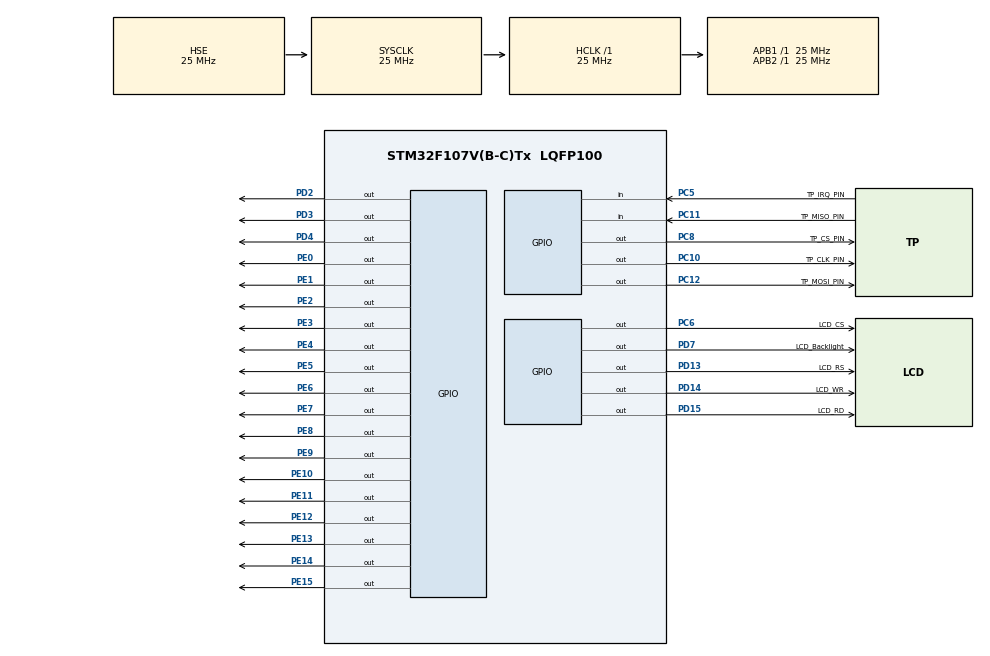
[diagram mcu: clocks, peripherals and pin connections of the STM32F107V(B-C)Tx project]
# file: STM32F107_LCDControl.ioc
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Mcu.Family=STM32F1
Mcu.Name=STM32F107V(B-C)Tx
Mcu.Package=LQFP100
NVIC.PriorityGroup=NVIC_PRIORITYGROUP_4
OSC_IN.Mode=HSE-External-Oscillator
OSC_IN.Signal=RCC_OSC_IN
OSC_OUT.Mode=HSE-External-Oscillator
OSC_OUT.Signal=RCC_OSC_OUT
PC10.GPIO_Label=TP_CLK_PIN
PC10.Signal=GPIO_Output
PC11.GPIO_Label=TP_MISO_PIN
PC11.Signal=GPIO_Input
PC12.GPIO_Label=TP_MOSI_PIN
PC12.Signal=GPIO_Output
PC14-OSC32_IN.Mode=LSE-External-Oscillator
PC14-OSC32_IN.Signal=RCC_OSC32_IN
PC15-OSC32_OUT.Mode=LSE-External-Oscillator
PC15-OSC32_OUT.Signal=RCC_OSC32_OUT
PC5.GPIO_Label=TP_IRQ_PIN
PC5.Signal=GPIO_Input
PC6.GPIO_Label=LCD_CS
PC6.Signal=GPIO_Output
PC8.GPIO_Label=TP_CS_PIN
PC8.Signal=GPIO_Output
PD13.GPIO_Label=LCD_RS
PD13.Signal=GPIO_Output
PD14.GPIO_Label=LCD_WR
PD14.Signal=GPIO_Output
PD15.GPIO_Label=LCD_RD
PD15.Signal=GPIO_Output
PD2.Signal=GPIO_Output
PD3.Signal=GPIO_Output
PD4.Signal=GPIO_Output
PD7.GPIO_Label=LCD_Backlight
PD7.Signal=GPIO_Output
PE0.Signal=GPIO_Output
PE1.Signal=GPIO_Output
PE10.Signal=GPIO_Output
PE11.Signal=GPIO_Output
PE12.Signal=GPIO_Output
PE13.Signal=GPIO_Output
PE14.Signal=GPIO_Output
PE15.Signal=GPIO_Output
PE2.Signal=GPIO_Output
PE3.Signal=GPIO_Output
PE4.Signal=GPIO_Output
PE5.Signal=GPIO_Output
PE6.Signal=GPIO_Output
PE7.Signal=GPIO_Output
PE8.Signal=GPIO_Output
PE9.Signal=GPIO_Output
ProjectManager.HeapSize=0x200
ProjectManager.StackSize=0x400
ProjectManager.TargetToolchain=SW4STM32
RCC.AHBFreq_Value=25000000
RCC.APB1Freq_Value=25000000
RCC.APB1TimFreq_Value=25000000
RCC.APB2Freq_Value=25000000
RCC.APB2TimFreq_Value=25000000
RCC.HCLKFreq_Value=25000000
RCC.HSEDivPLL=RCC_HSE_PREDIV_DIV4
RCC.HSE_VALUE=25000000
RCC.PLLSourceVirtual=RCC_PLLSOURCE_HSE
RCC.RTCClockSelection=RCC_RTCCLKSOURCE_LSE
RCC.SYSCLKFreq_VALUE=25000000
RCC.SYSCLKSource=RCC_SYSCLKSOURCE_HSE
RCC.USBFreq_Value=16666666.666666666
RTC.Format=RTC_FORMAT_BIN
RTC.Hours=1
RTC.Minutes=1
RTC.OutPut=RTC_OUTPUTSOURCE_CALIBCLOCK
RTC.Seconds=1
VP_RTC_VS_RTC_Activate.Mode=RTC_Enabled
VP_RTC_VS_RTC_Calendar.Mode=RTC_Calendar
VP_SYS_VS_ND.Mode=No_Debug
VP_TIM1_VS_ClockSourceINT.Mode=Internal
board=custom

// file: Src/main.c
/**
  ******************************************************************************
  * @file           : main.c
  * @brief          : Main program body
  ******************************************************************************
  ** This notice applies to any and all portions of this file
  * that are not between comment pairs USER CODE BEGIN and
  * USER CODE END. Other portions of this file, whether
  * inserted by the user or by software development tools
  * are owned by their respective copyright owners.
  *
  * COPYRIGHT(c) 2018 STMicroelectronics
  *
  * Redistribution and use in source and binary forms, with or without modification,
  * are permitted provided that the following conditions are met:
  *   1. Redistributions of source code must retain the above copyright notice,
  *      this list of conditions and the following disclaimer.
  *   2. Redistributions in binary form must reproduce the above copyright notice,
  *      this list of conditions and the following disclaimer in the documentation
  *      and/or other materials provided with the distribution.
  *   3. Neither the name of STMicroelectronics nor the names of its contributors
  *      may be used to endorse or promote products derived from this software
  *      without specific prior written permission.
  *
  * THIS SOFTWARE IS PROVIDED BY THE COPYRIGHT HOLDERS AND CONTRIBUTORS "AS IS"
  * AND ANY EXPRESS OR IMPLIED WARRANTIES, INCLUDING, BUT NOT LIMITED TO, THE
  * IMPLIED WARRANTIES OF MERCHANTABILITY AND FITNESS FOR A PARTICULAR PURPOSE ARE
  * DISCLAIMED. IN NO EVENT SHALL THE COPYRIGHT HOLDER OR CONTRIBUTORS BE LIABLE
  * FOR ANY DIRECT, INDIRECT, INCIDENTAL, SPECIAL, EXEMPLARY, OR CONSEQUENTIAL
  * DAMAGES (INCLUDING, BUT NOT LIMITED TO, PROCUREMENT OF SUBSTITUTE GOODS OR
  * SERVICES; LOSS OF USE, DATA, OR PROFITS; OR BUSINESS INTERRUPTION) HOWEVER
  * CAUSED AND ON ANY THEORY OF LIABILITY, WHETHER IN CONTRACT, STRICT LIABILITY,
  * OR TORT (INCLUDING NEGLIGENCE OR OTHERWISE) ARISING IN ANY WAY OUT OF THE USE
  * OF THIS SOFTWARE, EVEN IF ADVISED OF THE POSSIBILITY OF SUCH DAMAGE.
  *
  ******************************************************************************
  */
#include "main.h"
#include "stm32f1xx_hal.h"

/* USER CODE BEGIN Includes */

#include "GlobalStateMachine.h" /*Global State machine header*/
//#include "snow_tiger.h"
/* USER CODE END Includes */

RTC_HandleTypeDef hrtc;

TIM_HandleTypeDef htim1;

/* USER CODE BEGIN PV */
/* Private variables ---------------------------------------------------------*/
//RTC_TimeTypeDef sTime;
//RTC_DateTypeDef sDate;
/* USER CODE END PV */

void SystemClock_Config(void);
static void MX_GPIO_Init(void);
static void MX_TIM1_Init(void);
static void MX_RTC_Init(void);

/* USER CODE BEGIN PFP */
/* Private function prototypes -----------------------------------------------*/

/* USER CODE END PFP */

/* USER CODE BEGIN 0 */
uint32_t rtc_read_backup_reg(uint32_t BackupRegister) {
    RTC_HandleTypeDef RtcHandle;
    RtcHandle.Instance = RTC;
    return HAL_RTCEx_BKUPRead(&RtcHandle, BackupRegister);
}

void rtc_write_backup_reg(uint32_t BackupRegister, uint32_t data) {
    RTC_HandleTypeDef RtcHandle;
    RtcHandle.Instance = RTC;
    HAL_PWR_EnableBkUpAccess();
    HAL_RTCEx_BKUPWrite(&RtcHandle, BackupRegister, data);
    HAL_PWR_DisableBkUpAccess();
}
/* USER CODE END 0 */

int main(void)
{

  /* MCU Configuration----------------------------------------------------------*/

  /* Reset of all peripherals, Initializes the Flash interface and the Systick. */
  HAL_Init();

  /* Configure the system clock */
  SystemClock_Config();

  /* Initialize all configured peripherals */
  MX_GPIO_Init();
  MX_TIM1_Init();
  MX_RTC_Init();

  /* Infinite loop */
  /* USER CODE BEGIN WHILE */
  while (1)
  {
	  /*Call GSM runone*/
	  GSM_RunOne();
	  //----------------------------------------------------------PERFORMANCE TEST
//	  	  ILI9341_Clear(RED);
//	  	  HAL_Delay(3000);

//	  	  ILI9341_Clear(RED);
//	  	  HAL_Delay(1000);
//	  	  ILI9341_Clear(YELLOW);
//	  	  HAL_Delay(1000);
//	  	  ILI9341_Clear(GREEN);
//	  	  HAL_Delay(1000);
//	  	  ILI9341_Clear(MAGENTA);
//	  	  HAL_Delay(1000);
//
//	  		ILI9341_Set_Rotation(SCREEN_VERTICAL_2);
//	  	  	char counter_buff[30];
//	  	  	HAL_RTC_GetDate(&hrtc, &sDate, RTC_FORMAT_BIN);
//	  	  	HAL_RTC_GetTime(&hrtc, &sTime, RTC_FORMAT_BIN);
//	  	  	sprintf(counter_buff, "%02d:%02d", sTime.Hours, sTime.Minutes);
//	  	  	ILI9341_Draw_Text(counter_buff, 10, 10, BLACK, 4, WHITE);
//	  	  sprintf(counter_buff, "%02d", sTime.Seconds);
//	  	ILI9341_Draw_Text(counter_buff, 130, 25, BLACK, 2, WHITE);
//	  		uint32_t Timer_Counter = 0;
//	  		for(uint32_t j = 0; j < 2; j++)
//	  		{
//	  			HAL_TIM_Base_Start(&htim1);
//	  			for(uint16_t i = 0; i < 10; i++)
//	  			{
//	  				ILI9341_Fill_Screen(WHITE);
//	  				ILI9341_Fill_Screen(BLACK);
//	  			}
//
//	  			//20.000 per second!
//	  			HAL_TIM_Base_Stop(&htim1);
//	  			Timer_Counter += __HAL_TIM_GET_COUNTER(&htim1);
//	  			__HAL_TIM_SET_COUNTER(&htim1, 0);
//	  		}
//	  		Timer_Counter /= 2;
//
//	  		char counter_buff[30];
//	  		ILI9341_Fill_Screen(WHITE);
//	  		ILI9341_Set_Rotation(SCREEN_HORIZONTAL_2);
//	  		sprintf(counter_buff, "Timer counter value: %d", Timer_Counter*2);
//	  		ILI9341_Draw_Text(counter_buff, 10, 10, BLACK, 1, WHITE);
//
//	  		double seconds_passed = 2*((float)Timer_Counter / 20000);
//	  		sprintf(counter_buff, "Time: %.3f Sec", seconds_passed);
//	  		ILI9341_Draw_Text(counter_buff, 10, 30, BLACK, 2, WHITE);
//
//	  		double timer_float = 20/(((float)Timer_Counter)/20000);	//Frames per sec
//
//	  		sprintf(counter_buff, "FPS:  %.2f", timer	_float);
//	  		ILI9341_Draw_Text(counter_buff, 10, 50, BLACK, 2, WHITE);
//	  		double MB_PS = timer_float*240*320*2/1000000;
//	  		sprintf(counter_buff, "MB/S: %.2f", MB_PS);
//	  		ILI9341_Draw_Text(counter_buff, 10, 70, BLACK, 2, WHITE);
//	  		double SPI_utilized_percentage = (MB_PS/(6.25 ))*100;		//50mbits / 8 bits
//	  		sprintf(counter_buff, "SPI Utilized: %.2f", SPI_utilized_percentage);
//	  		ILI9341_Draw_Text(counter_buff, 10, 90, BLACK, 2, WHITE);
//	  		HAL_Delay(10000);
//
//
//	  		static uint16_t x = 0;
//	  		static uint16_t y = 0;
//
//	  		char Temp_Buffer_text[40];
//
//	  //----------------------------------------------------------COUNTING MULTIPLE SEGMENTS
//	  		ILI9341_Fill_Screen(WHITE);
//	  		ILI9341_Set_Rotation(SCREEN_HORIZONTAL_2);
//	  		ILI9341_Draw_Text("Counting multiple segments at once", 10, 10, BLACK, 1, WHITE);
//	  		HAL_Delay(2000);
//	  		ILI9341_Fill_Screen(WHITE);
//
//
//	  		for(uint16_t i = 0; i <= 10; i++)
//	  		{
//	  		sprintf(Temp_Buffer_text, "Counting: %d", i);
//	  		ILI9341_Draw_Text(Temp_Buffer_text, 10, 10, BLACK, 2, WHITE);
//	  		ILI9341_Draw_Text(Temp_Buffer_text, 10, 30, BLUE, 2, WHITE);
//	  		ILI9341_Draw_Text(Temp_Buffer_text, 10, 50, RED, 2, WHITE);
//	  		ILI9341_Draw_Text(Temp_Buffer_text, 10, 70, GREEN, 2, WHITE);
//	  		ILI9341_Draw_Text(Temp_Buffer_text, 10, 90, BLACK, 2, WHITE);
//	  		ILI9341_Draw_Text(Temp_Buffer_text, 10, 110, BLUE, 2, WHITE);
//	  		ILI9341_Draw_Text(Temp_Buffer_text, 10, 130, RED, 2, WHITE);
//	  		ILI9341_Draw_Text(Temp_Buffer_text, 10, 150, GREEN, 2, WHITE);
//	  		ILI9341_Draw_Text(Temp_Buffer_text, 10, 170, WHITE, 2, BLACK);
//	  		ILI9341_Draw_Text(Temp_Buffer_text, 10, 190, BLUE, 2, BLACK);
//	  		ILI9341_Draw_Text(Temp_Buffer_text, 10, 210, RED, 2, BLACK);
//	  		}
//
//	  		HAL_Delay(1000);
//
//	  //----------------------------------------------------------COUNTING SINGLE SEGMENT
//	  		ILI9341_Fill_Screen(WHITE);
//	  		ILI9341_Set_Rotation(SCREEN_HORIZONTAL_2);
//	  		ILI9341_Draw_Text("Counting single segment", 10, 10, BLACK, 1, WHITE);
//	  		HAL_Delay(2000);
//	  		ILI9341_Fill_Screen(WHITE);
//
//	  		for(uint16_t i = 0; i <= 100; i++)
//	  		{
//	  		sprintf(Temp_Buffer_text, "Counting: %d", i);
//	  		ILI9341_Draw_Text(Temp_Buffer_text, 10, 10, BLACK, 3, WHITE);
//	  		}
//
//	  		HAL_Delay(1000);
//
//	  //----------------------------------------------------------ALIGNMENT TEST
//	  		ILI9341_Fill_Screen(WHITE);
//	  		ILI9341_Set_Rotation(SCREEN_HORIZONTAL_2);
//	  		ILI9341_Draw_Text("Rectangle alignment check", 10, 10, BLACK, 1, WHITE);
//	  		HAL_Delay(2000);
//	  		ILI9341_Fill_Screen(WHITE);
//
//	  		ILI9341_Draw_Hollow_Rectangle_Coord(50, 50, 100, 100, BLACK);
//	  		ILI9341_Draw_Filled_Rectangle_Coord(20, 20, 50, 50, BLACK);
//	  		ILI9341_Draw_Hollow_Rectangle_Coord(10, 10, 19, 19, BLACK);
//	  		HAL_Delay(1000);
//
//	  //----------------------------------------------------------LINES EXAMPLE
//	  		ILI9341_Fill_Screen(WHITE);
//	  		ILI9341_Set_Rotation(SCREEN_HORIZONTAL_2);
//	  		ILI9341_Draw_Text("Randomly placed and sized", 10, 10, BLACK, 1, WHITE);
//	  		ILI9341_Draw_Text("Horizontal and Vertical lines", 10, 20, BLACK, 1, WHITE);
//	  		HAL_Delay(2000);
//	  		ILI9341_Fill_Screen(WHITE);
//
//	  		for(uint32_t i = 0; i < 30000; i++)
//	  		{
//	  			uint32_t random_num = 0;
//	  			uint16_t xr = 0;
//	  			uint16_t yr = 0;
//	  			uint16_t radiusr = 0;
//	  			uint16_t colourr = 0;
////	  			random_num = HAL_RNG_GetRandomNumber(&hrng);
//	  			xr = random_num;
////	  			random_num = HAL_RNG_GetRandomNumber(&hrng);
//	  			yr = random_num;
////	  			random_num = HAL_RNG_GetRandomNumber(&hrng);
//	  			radiusr = random_num;
////	  			random_num = HAL_RNG_GetRandomNumber(&hrng);
//	  			colourr = random_num;
//
//	  			xr &= 0x01FF;
//	  			yr &= 0x01FF;
//	  			radiusr &= 0x001F;
//	  			//ili9341_drawpixel(xr, yr, WHITE);
//	  			ILI9341_Draw_Horizontal_Line(xr, yr, radiusr, colourr);
//	  			ILI9341_Draw_Vertical_Line(xr, yr, radiusr, colourr);
//	  		}
//
//	  		HAL_Delay(1000);
//
//	  //----------------------------------------------------------HOLLOW CIRCLES EXAMPLE
//	  		ILI9341_Fill_Screen(WHITE);
//	  		ILI9341_Set_Rotation(SCREEN_HORIZONTAL_2);
//	  		ILI9341_Draw_Text("Randomly placed and sized", 10, 10, BLACK, 1, WHITE);
//	  		ILI9341_Draw_Text("Circles", 10, 20, BLACK, 1, WHITE);
//	  		HAL_Delay(2000);
//	  		ILI9341_Fill_Screen(WHITE);
//
//
//	  		for(uint32_t i = 0; i < 3000; i++)
//	  		{
//	  			uint32_t random_num = 0;
//	  			uint16_t xr = 0;
//	  			uint16_t yr = 0;
//	  			uint16_t radiusr = 0;
//	  			uint16_t colourr = 0;
////	  			random_num = HAL_RNG_GetRandomNumber(&hrng);
//	  			xr = random_num;
////	  			random_num = HAL_RNG_GetRandomNumber(&hrng);
//	  			yr = random_num;
////	  			random_num = HAL_RNG_GetRandomNumber(&hrng);
//	  			radiusr = random_num;
////	  			random_num = HAL_RNG_GetRandomNumber(&hrng);
//	  			colourr = random_num;
//
//	  			xr &= 0x01FF;
//	  			yr &= 0x01FF;
//	  			radiusr &= 0x001F;
//	  			//ili9341_drawpixel(xr, yr, WHITE);
//	  			ILI9341_Draw_Hollow_Circle(xr, yr, radiusr*2, colourr);
//	  		}
//	  		HAL_Delay(1000);
//
//	  //----------------------------------------------------------FILLED CIRCLES EXAMPLE
//	  		ILI9341_Fill_Screen(WHITE);
//	  		ILI9341_Set_Rotation(SCREEN_HORIZONTAL_2);
//	  		ILI9341_Draw_Text("Randomly placed and sized", 10, 10, BLACK, 1, WHITE);
//	  		ILI9341_Draw_Text("Filled Circles", 10, 20, BLACK, 1, WHITE);
//	  		HAL_Delay(2000);
//	  		ILI9341_Fill_Screen(WHITE);
//
//	  		for(uint32_t i = 0; i < 1000; i++)
//	  		{
//	  			uint32_t random_num = 0;
//	  			uint16_t xr = 0;
//	  			uint16_t yr = 0;
//	  			uint16_t radiusr = 0;
//	  			uint16_t colourr = 0;
////	  			random_num = HAL_RNG_GetRandomNumber(&hrng);
//	  			xr = random_num;
////	  			random_num = HAL_RNG_GetRandomNumber(&hrng);
//	  			yr = random_num;
////	  			random_num = HAL_RNG_GetRandomNumber(&hrng);
//	  			radiusr = random_num;
////	  			random_num = HAL_RNG_GetRandomNumber(&hrng);
//	  			colourr = random_num;
//
//	  			xr &= 0x01FF;
//	  			yr &= 0x01FF;
//	  			radiusr &= 0x001F;
//	  			//ili9341_drawpixel(xr, yr, WHITE);
//	  			ILI9341_Draw_Filled_Circle(xr, yr, radiusr/2, colourr);
//	  		}
//	  		HAL_Delay(1000);
//
//	  //----------------------------------------------------------HOLLOW RECTANGLES EXAMPLE
//	  		ILI9341_Fill_Screen(WHITE);
//	  		ILI9341_Set_Rotation(SCREEN_HORIZONTAL_2);
//	  		ILI9341_Draw_Text("Randomly placed and sized", 10, 10, BLACK, 1, WHITE);
//	  		ILI9341_Draw_Text("Rectangles", 10, 20, BLACK, 1, WHITE);
//	  		HAL_Delay(2000);
//	  		ILI9341_Fill_Screen(WHITE);
//
//	  		for(uint32_t i = 0; i < 20000; i++)
//	  		{
//	  			uint32_t random_num = 0;
//	  			uint16_t xr = 0;
//	  			uint16_t yr = 0;
//	  			uint16_t radiusr = 0;
//	  			uint16_t colourr = 0;
////	  			random_num = HAL_RNG_GetRandomNumber(&hrng);
//	  			xr = random_num;
////	  			random_num = HAL_RNG_GetRandomNumber(&hrng);
//	  			yr = random_num;
////	  			random_num = HAL_RNG_GetRandomNumber(&hrng);
//	  			radiusr = random_num;
////	  			random_num = HAL_RNG_GetRandomNumber(&hrng);
//	  			colourr = random_num;
//
//	  			xr &= 0x01FF;
//	  			yr &= 0x01FF;
//	  			radiusr &= 0x001F;
//	  			//ili9341_drawpixel(xr, yr, WHITE);
//	  			ILI9341_Draw_Hollow_Rectangle_Coord(xr, yr, xr+radiusr, yr+radiusr, colourr);
//	  		}
//	  		HAL_Delay(1000);
//
//	  //----------------------------------------------------------FILLED RECTANGLES EXAMPLE
//	  		ILI9341_Fill_Screen(WHITE);
//	  		ILI9341_Set_Rotation(SCREEN_HORIZONTAL_2);
//	  		ILI9341_Draw_Text("Randomly placed and sized", 10, 10, BLACK, 1, WHITE);
//	  		ILI9341_Draw_Text("Filled Rectangles", 10, 20, BLACK, 1, WHITE);
//	  		HAL_Delay(2000);
//	  		ILI9341_Fill_Screen(WHITE);
//
//	  		for(uint32_t i = 0; i < 20000; i++)
//	  		{
//	  			uint32_t random_num = 0;
//	  			uint16_t xr = 0;
//	  			uint16_t yr = 0;
//	  			uint16_t radiusr = 0;
//	  			uint16_t colourr = 0;
////	  			random_num = HAL_RNG_GetRandomNumber(&hrng);
//	  			xr = random_num;
////	  			random_num = HAL_RNG_GetRandomNumber(&hrng);
//	  			yr = random_num;
////	  			random_num = HAL_RNG_GetRandomNumber(&hrng);
//	  			radiusr = random_num;
////	  			random_num = HAL_RNG_GetRandomNumber(&hrng);
//	  			colourr = random_num;
//
//	  			xr &= 0x01FF;
//	  			yr &= 0x01FF;
//	  			radiusr &= 0x001F;
//	  			//ili9341_drawpixel(xr, yr, WHITE);
//	  			ILI9341_Draw_Rectangle(xr, yr, radiusr, radiusr, colourr);
//	  		}
//	  		HAL_Delay(1000);
//
//	  //----------------------------------------------------------INDIVIDUAL PIXEL EXAMPLE
//
//	  		ILI9341_Fill_Screen(WHITE);
//	  		ILI9341_Set_Rotation(SCREEN_HORIZONTAL_2);
//	  		ILI9341_Draw_Text("Slow draw by selecting", 10, 10, BLACK, 1, WHITE);
//	  		ILI9341_Draw_Text("and adressing pixels", 10, 20, BLACK, 1, WHITE);
//	  		HAL_Delay(2000);
//	  		ILI9341_Fill_Screen(WHITE);
//
//
//	  		x = 0;
//	  		y = 0;
//	  		while (y < 240)
//	  		{
//	  		while ((x < 320) && (y < 240))
//	  		{
//
//	  			if(x % 2)
//	  			{
//	  				ILI9341_Draw_Pixel(x, y, BLACK);
//	  			}
//
//	  			x++;
//	  		}
//
//	  			y++;
//	  			x = 0;
//	  		}
//
//	  		x = 0;
//	  		y = 0;
//
//
//	  		while (y < 240)
//	  		{
//	  		while ((x < 320) && (y < 240))
//	  		{
//
//	  			if(y % 2)
//	  			{
//	  				ILI9341_Draw_Pixel(x, y, BLACK);
//	  			}
//
//	  			x++;
//	  		}
//
//	  			y++;
//	  			x = 0;
//	  		}
//	  		HAL_Delay(2000);
//
//	  //----------------------------------------------------------INDIVIDUAL PIXEL EXAMPLE
//	  		ILI9341_Fill_Screen(WHITE);
//	  		ILI9341_Set_Rotation(SCREEN_HORIZONTAL_2);
//	  		ILI9341_Draw_Text("Random position and colour", 10, 10, BLACK, 1, WHITE);
//	  		ILI9341_Draw_Text("500000 pixels", 10, 20, BLACK, 1, WHITE);
//	  		HAL_Delay(2000);
//	  		ILI9341_Fill_Screen(WHITE);
//
//
//	  		for(uint32_t i = 0; i < 500000; i++)
//	  		{
//	  			uint32_t random_num = 0;
//	  			uint16_t xr = 0;
//	  			uint16_t yr = 0;
////	  			random_num = HAL_RNG_GetRandomNumber(&hrng);
//	  			xr = random_num;
////	  			random_num = HAL_RNG_GetRandomNumber(&hrng);
//	  			yr = random_num;
//	  			uint16_t color = random_num;//HAL_RNG_GetRandomNumber(&hrng);
//
//	  			xr &= 0x01FF;
//	  			yr &= 0x01FF;
//	  			ILI9341_Draw_Pixel(xr, yr, color);
//	  		}
//	  		HAL_Delay(2000);
//
//	  //----------------------------------------------------------565 COLOUR EXAMPLE, Grayscale
//	  		ILI9341_Fill_Screen(WHITE);
//	  		ILI9341_Set_Rotation(SCREEN_HORIZONTAL_2);
//	  		ILI9341_Draw_Text("Colour gradient", 10, 10, BLACK, 1, WHITE);
//	  		ILI9341_Draw_Text("Grayscale", 10, 20, BLACK, 1, WHITE);
//	  		HAL_Delay(2000);
//
//
//	  		for(uint16_t i = 0; i <= (320); i++)
//	  		{
//	  			uint16_t Red = 0;
//	  			uint16_t Green = 0;
//	  			uint16_t Blue = 0;
//
//	  			Red = i/(10);
//	  			Red <<= 11;
//	  			Green = i/(5);
//	  			Green <<= 5;
//	  			Blue = i/(10);
//
//
//
//	  			uint16_t RGB_color = Red + Green + Blue;
//	  			ILI9341_Draw_Rectangle(i, x, 1, 240, RGB_color);
//
//	  		}
//	  		HAL_Delay(2000);
//
//	  //----------------------------------------------------------IMAGE EXAMPLE, Snow Tiger
//	  		ILI9341_Fill_Screen(WHITE);
//	  		ILI9341_Set_Rotation(SCREEN_HORIZONTAL_2);
//	  		ILI9341_Draw_Text("RGB Picture", 10, 10, BLACK, 2, WHITE);
//	  		ILI9341_Draw_Text("TIGER", 10, 20, BLACK, 2, WHITE);
//	  		HAL_Delay(1000);
//	  		ILI9341_Draw_Rectangle(100, 100,100,100, GREEN);

//	  		ILI9341_Set_Rotation(SCREEN_VERTICAL_1);
//	  		HAL_Delay(10000);
//
//
//	  //----------------------------------------------------------TOUCHSCREEN EXAMPLE
//	  		ILI9341_Fill_Screen(WHITE);
////	  		ILI9341_Set_Rotation(SCREEN_HORIZONTAL_2);
//	  		ILI9341_Draw_Text("Touchscreen", 10, 10, BLACK, 2, WHITE);
//	  		ILI9341_Draw_Text("Touch to draw", 10, 30, BLACK, 2, WHITE);
////	  		ILI9341_Set_Rotation(SCREEN_VERTICAL_1);
//
//	  		while(1)
//	  		{
//
//	  			if(TP_Touchpad_Pressed())
//	          {
//
//	  					uint16_t x_pos = 0;
//	  					uint16_t y_pos = 0;
//
//
//	  					HAL_GPIO_WritePin(GPIOD, GPIO_PIN_2 | GPIO_PIN_3 | GPIO_PIN_4, GPIO_PIN_SET);
//
//	  					uint16_t position_array[2];
//
//	  					if(TP_Read_Coordinates(position_array) == TOUCHPAD_DATA_OK)
//	  					{
//	  					x_pos = position_array[0];
//	  					y_pos = position_array[1];
//	  					ILI9341_Draw_Filled_Circle(x_pos, y_pos, 2, BLACK);
////
////	  					ILI9341_Set_Rotation(SCREEN_HORIZONTAL_2);
//	  					char counter_buff[30];
//	  					sprintf(counter_buff, "POS X: %.3d", x_pos);
//	  					ILI9341_Draw_Text(counter_buff, 10, 80, BLACK, 2, WHITE);
//	  					sprintf(counter_buff, "POS Y: %.3d", y_pos);
//	  					ILI9341_Draw_Text(counter_buff, 10, 120, BLACK, 2, WHITE);
////	  					ILI9341_Set_Rotation(SCREEN_VERTICAL_1);
//
//	  					}
//	  					else
//	  					{
//	  						ILI9341_Draw_Text("Error", 10, 60, RED, 2, WHITE);
//	  					}
//
//	  					//ILI9341_Draw_Pixel(x_pos, y_pos, BLACK);
//
//	          }
//				else
//				{
//					HAL_GPIO_WritePin(GPIOD, GPIO_PIN_2 | GPIO_PIN_3 | GPIO_PIN_4, GPIO_PIN_RESET);
//				}
//
//	  		}
  /* USER CODE END WHILE */

  }

}

void SystemClock_Config(void)
{

  RCC_OscInitTypeDef RCC_OscInitStruct;
  RCC_ClkInitTypeDef RCC_ClkInitStruct;
  RCC_PeriphCLKInitTypeDef PeriphClkInit;

    /**Initializes the CPU, AHB and APB busses clocks
    */
  RCC_OscInitStruct.OscillatorType = RCC_OSCILLATORTYPE_HSE|RCC_OSCILLATORTYPE_LSE;
  RCC_OscInitStruct.HSEState = RCC_HSE_ON;
  RCC_OscInitStruct.LSEState = RCC_LSE_ON;
  RCC_OscInitStruct.PLL.PLLState = RCC_PLL_NONE;
  RCC_OscInitStruct.PLL2.PLL2State = RCC_PLL_NONE;
  if (HAL_RCC_OscConfig(&RCC_OscInitStruct) != HAL_OK)
  {
    _Error_Handler(__FILE__, __LINE__);
  }

    /**Initializes the CPU, AHB and APB busses clocks
    */
  RCC_ClkInitStruct.ClockType = RCC_CLOCKTYPE_HCLK|RCC_CLOCKTYPE_SYSCLK
                              |RCC_CLOCKTYPE_PCLK1|RCC_CLOCKTYPE_PCLK2;
  RCC_ClkInitStruct.SYSCLKSource = RCC_SYSCLKSOURCE_HSE;
  RCC_ClkInitStruct.AHBCLKDivider = RCC_SYSCLK_DIV1;
  RCC_ClkInitStruct.APB1CLKDivider = RCC_HCLK_DIV1;
  RCC_ClkInitStruct.APB2CLKDivider = RCC_HCLK_DIV1;

  if (HAL_RCC_ClockConfig(&RCC_ClkInitStruct, FLASH_LATENCY_1) != HAL_OK)
  {
    _Error_Handler(__FILE__, __LINE__);
  }

  PeriphClkInit.PeriphClockSelection = RCC_PERIPHCLK_RTC;
  PeriphClkInit.RTCClockSelection = RCC_RTCCLKSOURCE_LSE;
  if (HAL_RCCEx_PeriphCLKConfig(&PeriphClkInit) != HAL_OK)
  {
    _Error_Handler(__FILE__, __LINE__);
  }

    /**Configure the Systick interrupt time
    */
  HAL_SYSTICK_Config(HAL_RCC_GetHCLKFreq()/1000);

    /**Configure the Systick
    */
  HAL_SYSTICK_CLKSourceConfig(SYSTICK_CLKSOURCE_HCLK);

    /**Configure the Systick interrupt time
    */
  __HAL_RCC_PLLI2S_ENABLE();

  /* SysTick_IRQn interrupt configuration */
  HAL_NVIC_SetPriority(SysTick_IRQn, 0, 0);
}

/* RTC init function */
static void MX_RTC_Init(void)
{

  RTC_TimeTypeDef sTime;
  RTC_DateTypeDef DateToUpdate;

    /**Initialize RTC Only
    */
  hrtc.Instance = RTC;
  hrtc.Init.AsynchPrediv = RTC_AUTO_1_SECOND;
  hrtc.Init.OutPut = RTC_OUTPUTSOURCE_CALIBCLOCK;
  if (HAL_RTC_Init(&hrtc) != HAL_OK)
  {
    _Error_Handler(__FILE__, __LINE__);
  }
  /* USER CODE BEGIN RTC_Init 2 */
  uint32_t flag;
  flag = rtc_read_backup_reg(1);
  if(flag == 0x32F2)
  {
//	  HAL_GPIO_WritePin(GPIOD, GPIO_PIN_2, GPIO_PIN_SET);
	  return;
  }
  rtc_write_backup_reg(1, 0x32F2);
  /* USER CODE END RTC_Init 2 */

    /**Initialize RTC and set the Time and Date
    */
  sTime.Hours = 1;
  sTime.Minutes = 1;
  sTime.Seconds = 1;

  if (HAL_RTC_SetTime(&hrtc, &sTime, RTC_FORMAT_BIN) != HAL_OK)
  {
    _Error_Handler(__FILE__, __LINE__);
  }

  DateToUpdate.WeekDay = RTC_WEEKDAY_MONDAY;
  DateToUpdate.Month = RTC_MONTH_JANUARY;
  DateToUpdate.Date = 1;
  DateToUpdate.Year = 0;

  if (HAL_RTC_SetDate(&hrtc, &DateToUpdate, RTC_FORMAT_BIN) != HAL_OK)
  {
    _Error_Handler(__FILE__, __LINE__);
  }

}

/* TIM1 init function */
static void MX_TIM1_Init(void)
{

  TIM_ClockConfigTypeDef sClockSourceConfig;
  TIM_MasterConfigTypeDef sMasterConfig;

  htim1.Instance = TIM1;
  htim1.Init.Prescaler = 0;
  htim1.Init.CounterMode = TIM_COUNTERMODE_UP;
  htim1.Init.Period = 0;
  htim1.Init.ClockDivision = TIM_CLOCKDIVISION_DIV1;
  htim1.Init.RepetitionCounter = 0;
  htim1.Init.AutoReloadPreload = TIM_AUTORELOAD_PRELOAD_DISABLE;
  if (HAL_TIM_Base_Init(&htim1) != HAL_OK)
  {
    _Error_Handler(__FILE__, __LINE__);
  }

  sClockSourceConfig.ClockSource = TIM_CLOCKSOURCE_INTERNAL;
  if (HAL_TIM_ConfigClockSource(&htim1, &sClockSourceConfig) != HAL_OK)
  {
    _Error_Handler(__FILE__, __LINE__);
  }

  sMasterConfig.MasterOutputTrigger = TIM_TRGO_RESET;
  sMasterConfig.MasterSlaveMode = TIM_MASTERSLAVEMODE_DISABLE;
  if (HAL_TIMEx_MasterConfigSynchronization(&htim1, &sMasterConfig) != HAL_OK)
  {
    _Error_Handler(__FILE__, __LINE__);
  }

}

/** Configure pins as
        * Analog
        * Input
        * Output
        * EVENT_OUT
        * EXTI
*/
static void MX_GPIO_Init(void)
{

  GPIO_InitTypeDef GPIO_InitStruct;

  /* GPIO Ports Clock Enable */
  __HAL_RCC_GPIOE_CLK_ENABLE();
  __HAL_RCC_GPIOC_CLK_ENABLE();
  __HAL_RCC_GPIOD_CLK_ENABLE();

  /*Configure GPIO pin Output Level */
  HAL_GPIO_WritePin(GPIOE, GPIO_PIN_2|GPIO_PIN_3|GPIO_PIN_4|GPIO_PIN_5
                          |GPIO_PIN_6|GPIO_PIN_7|GPIO_PIN_8|GPIO_PIN_9
                          |GPIO_PIN_10|GPIO_PIN_11|GPIO_PIN_12|GPIO_PIN_13
                          |GPIO_PIN_14|GPIO_PIN_15|GPIO_PIN_0|GPIO_PIN_1, GPIO_PIN_RESET);

  /*Configure GPIO pin Output Level */
  HAL_GPIO_WritePin(GPIOD, LCD_RS_Pin|LCD_WR_Pin|LCD_RD_Pin|GPIO_PIN_2
                          |GPIO_PIN_3|GPIO_PIN_4|LCD_Backlight_Pin, GPIO_PIN_RESET);

  /*Configure GPIO pin Output Level */
  HAL_GPIO_WritePin(GPIOC, LCD_CS_Pin|TP_CS_PIN_Pin|TP_CLK_PIN_Pin|TP_MOSI_PIN_Pin, GPIO_PIN_RESET);

  /*Configure GPIO pins : PE2 PE3 PE4 PE5
                           PE6 PE7 PE8 PE9
                           PE10 PE11 PE12 PE13
                           PE14 PE15 PE0 PE1 */
  GPIO_InitStruct.Pin = GPIO_PIN_2|GPIO_PIN_3|GPIO_PIN_4|GPIO_PIN_5
                          |GPIO_PIN_6|GPIO_PIN_7|GPIO_PIN_8|GPIO_PIN_9
                          |GPIO_PIN_10|GPIO_PIN_11|GPIO_PIN_12|GPIO_PIN_13
                          |GPIO_PIN_14|GPIO_PIN_15|GPIO_PIN_0|GPIO_PIN_1;
  GPIO_InitStruct.Mode = GPIO_MODE_OUTPUT_PP;
  GPIO_InitStruct.Pull = GPIO_NOPULL;
  GPIO_InitStruct.Speed = GPIO_SPEED_FREQ_LOW;
  HAL_GPIO_Init(GPIOE, &GPIO_InitStruct);

  /*Configure GPIO pins : TP_IRQ_PIN_Pin TP_MISO_PIN_Pin */
  GPIO_InitStruct.Pin = TP_IRQ_PIN_Pin|TP_MISO_PIN_Pin;
  GPIO_InitStruct.Mode = GPIO_MODE_INPUT;
  GPIO_InitStruct.Pull = GPIO_NOPULL;
  HAL_GPIO_Init(GPIOC, &GPIO_InitStruct);

  /*Configure GPIO pins : LCD_RS_Pin LCD_WR_Pin LCD_RD_Pin PD2
                           PD3 PD4 LCD_Backlight_Pin */
  GPIO_InitStruct.Pin = LCD_RS_Pin|LCD_WR_Pin|LCD_RD_Pin|GPIO_PIN_2
                          |GPIO_PIN_3|GPIO_PIN_4|LCD_Backlight_Pin;
  GPIO_InitStruct.Mode = GPIO_MODE_OUTPUT_PP;
  GPIO_InitStruct.Pull = GPIO_NOPULL;
  GPIO_InitStruct.Speed = GPIO_SPEED_FREQ_LOW;
  HAL_GPIO_Init(GPIOD, &GPIO_InitStruct);

  /*Configure GPIO pins : LCD_CS_Pin TP_CS_PIN_Pin TP_CLK_PIN_Pin TP_MOSI_PIN_Pin */
  GPIO_InitStruct.Pin = LCD_CS_Pin|TP_CS_PIN_Pin|TP_CLK_PIN_Pin|TP_MOSI_PIN_Pin;
  GPIO_InitStruct.Mode = GPIO_MODE_OUTPUT_PP;
  GPIO_InitStruct.Pull = GPIO_NOPULL;
  GPIO_InitStruct.Speed = GPIO_SPEED_FREQ_LOW;
  HAL_GPIO_Init(GPIOC, &GPIO_InitStruct);

}

void _Error_Handler(char *file, int line)
{
  while(1)
  {
  }
}

/************************ (C) COPYRIGHT STMicroelectronics *****END OF FILE****/
